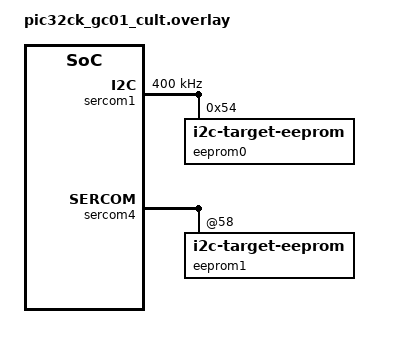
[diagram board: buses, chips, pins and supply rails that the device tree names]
/*
 * Copyright (c) 2026 Microchip Technology Inc.
 *
 * SPDX-License-Identifier: Apache-2.0
 */

/* connect the PB09(EXT1 pin 11) to PD13(EXT2 pin 14) and PB10(EXT1 pin 12) to PD14(EXT2 pin 13) */

dut: &sercom1 {
	compatible = "microchip,sercom-g1-i2c";
	#address-cells = <1>;
	#size-cells = <0>;
	clock-frequency = <I2C_BITRATE_FAST>;
	pinctrl-0 = <&sercom1_i2c_default>;
	pinctrl-names = "default";
	status = "okay";

	eeprom0: eeprom@54 {
		compatible = "zephyr,i2c-target-eeprom";
		reg = <0x54>;
		size = <256>;
	};
};

dut_aux: &sercom4 {
	status = "okay";

	eeprom1: eeprom@58 {
		compatible = "zephyr,i2c-target-eeprom";
		reg = <0x58>;
		size = <256>;
	};
};

&pinctrl {
	sercom1_i2c_default: sercom1_i2c_default {
		group1 {
			pinmux = <PD13C_SERCOM1_PAD0>,
				 <PD14C_SERCOM1_PAD1>;
		};
	};
};
